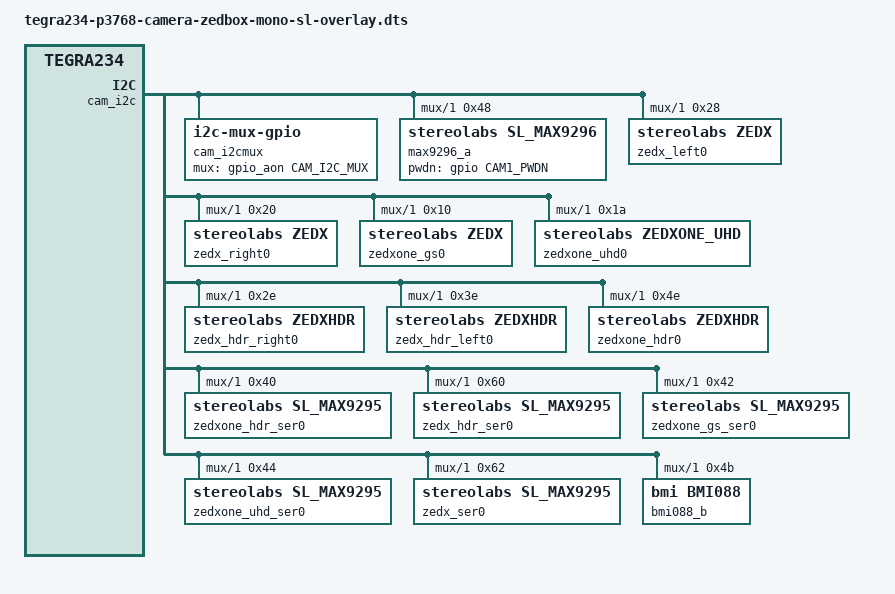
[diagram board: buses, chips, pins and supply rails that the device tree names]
// SPDX-License-Identifier: GPL-2.0-only
// SPDX-FileCopyrightText: Copyright (c) 2023-2024, NVIDIA CORPORATION & AFFILIATES. All rights reserved.

#ifdef BUILDOVERLAY
/dts-v1/;
/plugin/;
#endif 

#include "tegra234-camera-zedlink-mono-zedbox.dtsi"
#include "Utils/camera-clks.dtsi"
#include "dt-bindings/gpio/tegra234-gpio.h"
#include "dt-bindings/clock/tegra234-clock.h"
#include <dt-bindings/tegra234-p3767-0000-common.h>

#define CAM0_RST_L  TEGRA234_MAIN_GPIO(H, 3)
#define CAM0_PWDN   TEGRA234_MAIN_GPIO(H, 6)
#define CAM1_RST_L  TEGRA234_MAIN_GPIO(AC, 1)
#define CAM1_PWDN   TEGRA234_MAIN_GPIO(AC, 0)
#define PWR_EN      TEGRA234_MAIN_GPIO(AC, 7)
#define CAM_I2C_MUX	TEGRA234_AON_GPIO(CC, 3)

#define CAMERA_I2C_MUX_BUS(x) (0x1E + x)


/* camera control gpio definitions */
/ {
#ifdef BUILDOVERLAY
	overlay-name = "Jetson Camera Zedbox Orin Mono";
	jetson-header-name = "Jetson 24pin CSI Connector";
	compatible = JETSON_COMPATIBLE_P3768;

	fragment-camera-imx219@0 {
		target-path = "/";
		__overlay__ {
#endif
			bus@0 {
				cam_i2cmux{
					i2c@0 {
						/delete-node/ rbpcv2_imx219_a@10;
					};
					i2c@1 {
						/delete-node/ rbpcv2_imx219_c@10;
					};
				};
				gpio@2200000 {
					camera-control-output-low
					{
						status="disabled";
					};
				};
			};
#ifdef BUILDOVERLAY
		};
	};
	
	fragment-camera-zedx-zedlink-mono@0 {
		target-path = "/";
		__overlay__ {
#endif
			bus@0 {
				cam_i2cmux{
					status = "okay";
					compatible = "i2c-mux-gpio";
					#address-cells = <1>;
					#size-cells = <0>;
					i2c-parent = <&cam_i2c>;
					mux-gpios = <&gpio_aon CAM_I2C_MUX GPIO_ACTIVE_HIGH>;

					i2c@0 {
						reg = <0>;
						#address-cells = <1>;
						#size-cells = <0>;
						status = "okay";
						
					};
					
					/* /dev/i2c-10/ */
					i2c@1 {
						reg = <1>;
						#address-cells = <1>;
						#size-cells = <0>;
						status = "okay";

						/* deserializer MAX9296 at address 0x48*/
						max9296_a@48 {
							compatible = "stereolabs,sl_max9296";
							reg = <0x48>;  /* deserializer i2c_address */
							channel = "a"; /* deserializer channel: one per deser */
							sync_mode = "master";
							camera-serializers = < &zedxone_hdr_ser0 &zedx_hdr_ser0 &zedxone_gs_ser0 &zedxone_uhd_ser0 &zedx_ser0>;
							pwdn-gpio = <&gpio CAM1_PWDN GPIO_ACTIVE_HIGH>;
						};

						/* ZEDX Left Cam */
						zedx_left0: zedx_left_0@28 {
							compatible = "stereolabs,zedx";
							reg = <0x28>;

							ZED_ORIN_CLKS

							zedx-id = "0";
							channel = "a";   /* deserializer channel */
							
							has-eeprom;
							eeprom-addr = <0x54>;
						};
						
						/* ZEDX Right Cam */
						zedx_right0: zedx_right_0@20 {
							compatible = "stereolabs,zedx";
							reg = <0x20>;

							ZED_ORIN_CLKS

							zedx-id = "0";
							channel = "a";  /* deserializer channel */
							
							has-eeprom;
							eeprom-addr=<0x54>;
						};

						/* ZEDX One GS 0 Cam */
						zedxone_gs0: zedxone_gs_0@10 {
							compatible = "stereolabs,zedx";
							reg = <0x10>;

							ZED_ORIN_CLKS

							zedx-id = "1";
							channel = "a";   /* deserializer channel */
							
							has-eeprom;
							eeprom-addr=<0x56>;
						};
					
						/*ZEDX One 4K 0 Cam*/
						zedxone_uhd0:zedxone_uhd_0@1a {
							compatible = "stereolabs,zedxone_uhd";
							reg = <0x1a>;

							ZED_ORIN_CLKS

							zedx-id = "2";
							channel = "a";

							has-eeprom;
							eeprom-addr=<0x54>;
						};

						/* ZEDX Pro Right Cam 0 */
						zedx_hdr_right0: zedx_hdr_right_0@2e {
							compatible = "stereolabs,zedxhdr";
							reg = <0x2e>;

							ZED_ORIN_CLKS

							channel = "a"; /* deserializer channel */
							zedx-id = "3";
							
							has-eeprom;
							eeprom-addr = <0x52>;
						};
						
						/* ZEDX Pro Left Cam 0 */
						zedx_hdr_left0: zedx_hdr_left_0@3e {
							compatible = "stereolabs,zedxhdr";
							reg = <0x3e>;

							ZED_ORIN_CLKS

							channel = "a";  /* deserializer channel */
							zedx-id = "3";
							
							has-eeprom;
							eeprom-addr = <0x52>;
						};

						/* ZEDX One pro Cam 0 */
						zedxone_hdr0: zedxone_hdr_0@4e {
							compatible = "stereolabs,zedxhdr";
							reg = <0x4e>;

							ZED_ORIN_CLKS

							zedx-id = "4";
							channel = "a";  /* deserializer channel */
							
							has-eeprom;
							eeprom-addr = <0x52>;
						};

						zedxone_hdr_ser0: zedxone_hdr_ser_0@40 {
							compatible = "stereolabs,sl_max9295";
							reg = <0x40>;

							zedx-id = "4";
							channel = "a";
							mode = "master";

							camera_model = "zedonehdr";
							camera-sensors = <&zedxone_hdr0>;
							imu = <&bmi088_b>;
						};
					
						zedx_hdr_ser0: zedx_hdr_ser_0@60 {
							compatible = "stereolabs,sl_max9295";
							reg = <0x60>;

							zedx-id = "3";
							channel = "a";
							mode = "master";
							
							camera_model = "zedxhdr";
							camera-sensors = <&zedx_hdr_right0 &zedx_hdr_left0>;//!\\ Different order than ZED-X
							imu = <&bmi088_b>;
						};

						zedxone_gs_ser0: zedxone_gs_ser_0@42 {
							compatible = "stereolabs,sl_max9295";
							reg = <0x42>;

							zedx-id = "1";
							channel = "a";
							mode = "master";
							
							camera_model = "zedonegs";
							camera-sensors = <&zedxone_gs0>;
							imu = <&bmi088_b>;
						};
					
						zedxone_uhd_ser0: zedxone_uhd_ser_0@44 {
							compatible = "stereolabs,sl_max9295";
							reg = <0x44>;

							zedx-id = "2";
							channel = "a";
							mode = "master";

							camera_model = "zedone4k";
							camera-sensors = <&zedxone_uhd0>;
							imu = <&bmi088_b>;
						};

						/* ZEDX 0 Serializer */
						zedx_ser0: zedx_ser_0@62 {
							compatible = "stereolabs,sl_max9295";
							reg = <0x62>;

							zedx-id = "0";
							channel = "a";
							mode = "master";
							
							camera_model = "zedx";
							camera-sensors = <&zedx_left0 &zedx_right0>;
							imu = <&bmi088_b>;
						};

						/* IMU B*/
						bmi088_b: bmi088_b_@4b {
							status = "okay";
							compatible = "bmi,bmi088";
							reg = <0x4b>; /* <-- Must be gyroscope I2C address */
							accel_i2c_addr = <0x4c>; /* Must be specified */
							accel_matrix    = [01 00 00 00 01 00 00 00 01];
							gyro_matrix        = [01 00 00 00 01 00 00 00 01];
						};
					};
				};
			};
			#ifdef BUILDOVERLAY
		};
	};
	#endif
};
